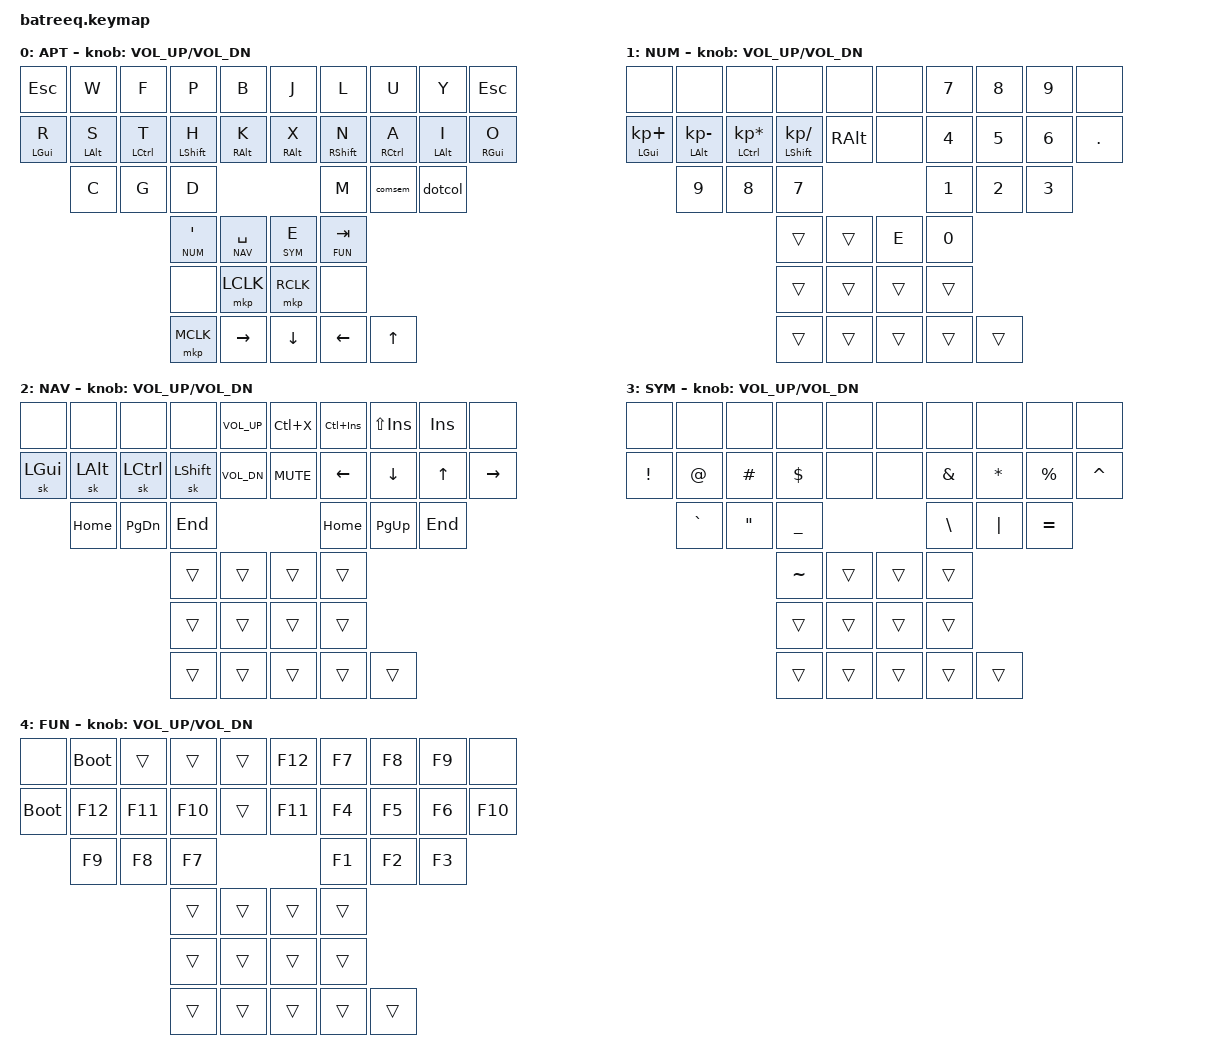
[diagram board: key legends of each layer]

#include <dt-bindings/zmk/mouse.h>
 
#include <behaviors.dtsi>
#include <dt-bindings/zmk/keys.h>

#define APT 0
#define NUM 1
#define NAV 2
#define SYM 3
#define FUN 4

// &lt {
//     quick_tap_ms = <170>;
// };

&caps_word {
    continue-list = <UNDERSCORE MINUS BSPC LSHFT RSHFT>;
};


#define COMBO(NAME, BINDINGS, KEYPOS) \
combo_##NAME { \
    timeout-ms = <30>; \
    bindings = <BINDINGS>; \
    key-positions = <KEYPOS>; \
};

/ {
    combos {
        compatible = "zmk,combos";
/* usually on base layer */
        COMBO(q, &kp Q, 2 3)
        COMBO(z, &kp Z, 20 21)
        COMBO(v, &kp V, 1 2)
        COMBO(_ae, &kp RA(A), 15 26)
        COMBO(_oe, &kp RA(O), 17 26)
        COMBO(_ue, &kp RA(U), 6 26)
        COMBO(_sz, &kp RA(S), 9 25)
        COMBO(slash, &kp SLASH, 24 25)
        COMBO(dash, &kp MINUS, 23 24)
//        COMBO(enter, &kp ENTER, 21 22 23)
        COMBO(enter, &kp ENTER, 23 17)
        COMBO(esc, &kp ESC, 21 22)
/* parentheticals */
        COMBO(lbrc, &kp LBRC, 1 11)
        COMBO(lbkt, &kp LBKT, 2 12)
        COMBO(lpar, &kp LPAR, 3 13)
        COMBO(lt, &kp LT, 4 14)
        COMBO(gt, &kp GT, 5 15)
        COMBO(rpar, &kp RPAR, 6 16)
        COMBO(rbkt, &kp RBKT, 7 17)
        COMBO(rbrc, &kp RBRC, 8 18)
/* caps */
        COMBO(caps, &caps_word, 13 16)
        COMBO(capslock, &kp CAPSLOCK, 1 8)
/* deletion */
        COMBO(bspc, &kp BSPC, 12 13)
        COMBO(del, &kp DEL, 7 8)
        COMBO(delword, &kp LC(BSPC), 16 17)
/* alternative shifting 
        COMBO(Sq, &kp LS(Q), 1 2 25)
        COMBO(Sz, &kp LS(Z), 18 19 25)
        COMBO(Sv, &kp LS(V), 0 1 25)
        COMBO(Sw, &kp LS(W), 0 25)
        COMBO(Sf, &kp LS(F), 1 25)
        COMBO(Sp, &kp LS(P), 2 25)
        COMBO(Sb, &kp LS(B), 3 25)
        COMBO(Sj, &kp LS(J), 4 26)
        COMBO(Sl, &kp LS(L), 5 26)
        COMBO(Su, &kp LS(U), 6 26)
        COMBO(Sy, &kp LS(Y), 7 26)
        COMBO(Sr, &kp LS(R), 8 25)
        COMBO(Ss, &kp LS(S), 9 25)
        COMBO(St, &kp LS(T), 10 25)
        COMBO(Sh, &kp LS(H), 11 25)
        COMBO(Sk, &kp LS(K), 12 25)
        COMBO(Sx, &kp LS(X), 13 26)
        COMBO(Sn, &kp LS(N), 14 26)
        COMBO(Sa, &kp LS(A), 15 26)
        COMBO(Si, &kp LS(I), 16 26)
        COMBO(So, &kp LS(O), 17 26)
        COMBO(Sc, &kp LS(C), 18 25)
        COMBO(Sg, &kp LS(G), 19 25)
        COMBO(Sd, &kp LS(D), 20 25)
        COMBO(Sm, &kp LS(M), 21 26)
        COMBO(Scomma, &kp SEMI, 22 26)
        COMBO(Sdot, &kp COLON, 23 26)
        COMBO(Se, &kp LS(E), 14 15 26)*/
    };
};

/*                KEY POSITIONS

  ╭────────────────────╮ ╭────────────────────╮
  │  0   1   2   3   4 │ │  5   6   7   8   9 │
  │ 10  11  12  13  14 │ │ 15  16  17  18  19 │
  │     20  21  22     │ │     23  24  25     │
  ╰───────────╮ 26  27 │ │ 28  29 ╭───────────╯
              ╰────────╯ ╰────────╯            
*/ 

/ {

    behaviors {
        hl: homerow_mods_left {
            compatible = "zmk,behavior-hold-tap";
            label = "homerow mods left";
            #binding-cells = <2>;
            // flavor = "tap-preferred";
            flavor = "balanced";
            tapping-term-ms = <150>;
            quick-tap-ms = <100>;
            // global-quick-tap;
            bindings = <&kp>, <&kp>;
            // opposite side hand keys
            hold-trigger-key-positions = <5 6 7 8 9 15 16 17 18 19 23 24 25 28 29>;
        };
        hr: homerow_mods_right {
            compatible = "zmk,behavior-hold-tap";
            label = "homerow mods right";
            #binding-cells = <2>;
            // flavor = "tap-preferred";
            flavor = "balanced";
            tapping-term-ms = <150>;
            quick-tap-ms = <100>;
            // global-quick-tap;
            bindings = <&kp>, <&kp>;
            // opposite side hand keys
            hold-trigger-key-positions = <0 1 2 3 4 10 11 12 13 14 20 21 22 26 27>;
        };

        my_lt: my_layer_taps {
            compatible = "zmk,behavior-hold-tap";
            label = "my layer taps";
            #binding-cells = <2>;
            // flavor = "tap-preferred";
            flavor = "balanced";
            tapping-term-ms = <150>;
            quick-tap-ms = <100>;
            // global-quick-tap;
            bindings = <&mo>, <&kp>;
            // non-thumb keys
            // hold-trigger-key-positions = <0 1 2 3 4 5 6 7 8 9 10 11 12 13 14 15 16 17 18 19 20 21 22 23>;
        };

        dotcol: dot_colon {
            compatible = "zmk,behavior-mod-morph";
            label = "DOT_COL";
            #binding-cells = <0>;
            bindings = <&kp DOT>, <&kp COLON>;
            mods = <(MOD_LSFT|MOD_RSFT)>;
        };
        comsem: comma_semicolon {
            compatible = "zmk,behavior-mod-morph";
            label = "COM_SEM";
            #binding-cells = <0>;
            bindings = <&kp COMMA>, <&kp SEMI>;
            mods = <(MOD_LSFT|MOD_RSFT)>;
        };
    };
};
/*                KEY POSITIONS

  ╭────────────────────╮ ╭────────────────────╮
  │  0   1   2   3   4 │ │  5   6   7   8   9 │
  │ 10  11  12  13  14 │ │ 15  16  17  18  19 │
  │     20  21  22     │ │     23  24  25     │
  ╰───────────╮ 26  27 │ │ 28  29 ╭───────────╯
              ╰────────╯ ╰────────╯            
*/ 

/ {

    keymap {
        compatible = "zmk,keymap";

        aptmak {
            label = "APT";
            sensor-bindings = <&inc_dec_kp C_VOL_UP C_VOL_DN>;
            bindings = <
                &kp ESC        &kp W          &kp F          &kp P          &kp B          &kp J          &kp L          &kp U          &kp Y          &kp ESC
                &hl LGUI R    &hl LALT S     &hl LCTRL T     &hl LSHFT H    &hl RALT K     &hr RALT X     &hr RSHFT N    &hr RCTRL A     &hr LALT I     &hr RGUI O
                               &kp C          &kp G          &kp D                                        &kp M          &comsem        &dotcol
                                                             &my_lt NUM SQT &my_lt NAV SPACE &my_lt SYM E &my_lt FUN TAB
                                                             &none &mkp LCLK &mkp RCLK &none
                                                    //5way  CLICK       RIGHT       DOWN      LEFT      UP 
                                                            &mkp MCLK   &kp RIGHT   &kp DOWN  &kp LEFT  &kp UP
            >;
        };
        numbers {
            label = "NUM";
            sensor-bindings = <&inc_dec_kp C_VOL_UP C_VOL_DN>;
            bindings = <
                &none            &none             &none                &none              &none          &none          &kp N7         &kp N8         &kp N9    &none 
                &hl LGUI KP_PLUS &hl LALT KP_MINUS &hl LCTRL KP_ASTERISK &hl LSHFT KP_SLASH &kp RALT       &none          &kp N4         &kp N5         &kp N6         &kp DOT
                                  &kp N9            &kp N8               &kp N7                                           &kp N1         &kp N2         &kp N3
                                                             &trans         &trans         &kp E          &kp N0
                                                             &trans &trans &trans &trans
                                                             &trans &trans &trans &trans &trans
            >;
        };
        navigation {
            label = "NAV";
            sensor-bindings = <&inc_dec_kp C_VOL_UP C_VOL_DN>;
            bindings = <
                &none         &none          &none          &none           &kp C_VOL_UP   &kp LC(X)      &kp LC(INSERT) &kp LS(INSERT) &kp INSERT      &none 
                &sk LGUI      &sk LALT       &sk LCTRL       &sk LSHFT       &kp C_VOL_DN   &kp C_MUTE     &kp LEFT       &kp DOWN       &kp UP         &kp RIGHT
                               &kp HOME       &kp PG_DN      &kp END                                       &kp HOME       &kp PG_UP      &kp END
                                                             &trans          &trans         &trans         &trans
                                                             &trans &trans &trans &trans
                                                             &trans &trans &trans &trans &trans
            >;
        };
        symbols {
            label = "SYM";
            sensor-bindings = <&inc_dec_kp C_VOL_UP C_VOL_DN>;
            bindings = <
                &none          &none          &none          &none            &none          &none          &none          &none          &none          &none
                &kp EXCL       &kp AT         &kp HASH       &kp DOLLAR       &none          &none          &kp AMPERSAND  &kp ASTERISK   &kp PERCENT    &kp CARET
                               &kp GRAVE      &kp DQT        &kp UNDERSCORE                                 &kp BACKSLASH  &kp PIPE       &kp EQUAL
                                                             &kp TILDE        &trans         &trans         &trans
                                                             &trans &trans &trans &trans
                                                             &trans &trans &trans &trans &trans
            >;
        };
        function {
            label = "FUN";
            sensor-bindings = <&inc_dec_kp C_VOL_UP C_VOL_DN>;
            bindings = <
                &none          &bootloader    &trans         &trans         &trans         &kp F12        &kp F7         &kp F8         &kp F9         &none 
                &bootloader    &kp F12        &kp F11        &kp F10        &trans         &kp F11        &kp F4         &kp F5         &kp F6         &kp F10
                               &kp F9         &kp F8         &kp F7                                       &kp F1         &kp F2         &kp F3
                                                             &trans         &trans         &trans         &trans  
                                                             &trans &trans &trans &trans 
                                                             &trans &trans &trans &trans &trans
            >;
        };

    };
};
/*                KEY POSITIONS

  ╭────────────────────╮ ╭────────────────────╮
  │  0   1   2   3   4 │ │  5   6   7   8   9 │
  │ 10  11  12  13  14 │ │ 15  16  17  18  19 │
  │     20  21  22     │ │     23  24  25     │
  ╰───────────╮ 26  27 │ │ 28  29 ╭───────────╯
              ╰────────╯ ╰────────╯            
*/ 

